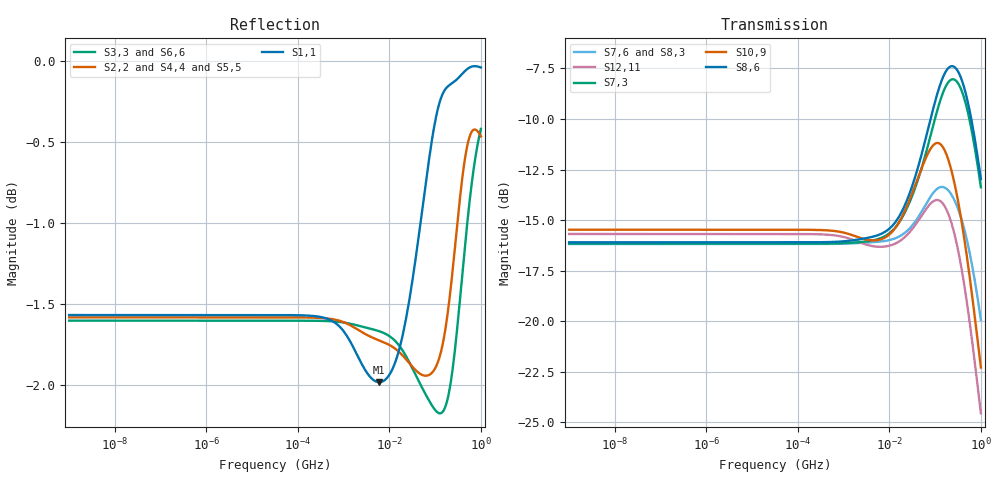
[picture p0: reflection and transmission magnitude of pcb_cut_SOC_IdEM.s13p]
! Touchstone data
! Created: 22-Apr-2025 by IdEM 2023 (2023.0.0)
! COMMENTS
!  Touchstone file exported from Ansys Full-Wave Spice
!  Project: 0000_PSI_S-parameter_Sweep
!  Design: unknown
!  Creation time: Tue Apr 22 10:16:35 2025
!  Notes: ! Touchstone(R) file created by SIwave 2025 R1
!  : ! Touchstone(R) file created on Tue Apr 22 10:16:35 2025
!  Modal data exported
!  Port[1] = PORT_1_L34_SOC_VSOC_Group_U40_GND_Group
!  Port[2] = PORT_2_U1_SOC_VSOC_Group_U1_GRP_1_1_GND
!  Port[3] = SOC_VSOC_C467_1
!  Port[4] = SOC_VSOC_C468_1
!  Port[5] = SOC_VSOC_C469_1
!  Port[6] = SOC_VSOC_C470_1
!  Port[7] = SOC_VSOC_C471_1
!  Port[8] = SOC_VSOC_C473_1
!  Port[9] = SOC_VSOC_C560_1
!  Port[10] = SOC_VSOC_C560_3
!  Port[11] = SOC_VSOC_C561_1
!  Port[12] = SOC_VSOC_C561_3
!  Port[13] = SOC_VSOC_C648_1
! Options Used in IdEM Flow
! Fitting Options !
! Bandwidth: 1.0000e+09 Hz
! Order: [2 2 6]
! SplitType: none
! tol: 1.0000e-03
! DC Point: enforced
! Passivity Options !
! Alg: SOC+HAM
!  Max SOC it: 200
!  Max HAM it: 50
! Freq sampling: adaptive
! DC Point: enforced
! Optimization method: Model based
# Hz S MA R 0.1
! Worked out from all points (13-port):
!   420 points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, 1 Hz to 1 GHz, reference 0.1 ohm
!   strongest paths, dB at 1 Hz, 3.687 kHz, 11.66 MHz, 482.9 MHz, 1 GHz:
!     S8,6: -16.1, -16.1, -15.3, -8.9, -13.0
!     S10,9: -15.5, -15.5, -15.6, -16.6, -22.3
!     S7,3: -16.2, -16.2, -15.5, -9.4, -13.4
!     S12,11: -15.7, -15.7, -16.2, -18.9, -24.6
!     S7,6: -16.2, -16.2, -15.9, -15.9, -19.9
!     S8,3: -16.2, -16.2, -16.0, -15.8, -19.9
!   lowest |S11| = -2.0 dB at 5.843 MHz (marker M1), VSWR 8.80, Z = 0.0119 + j0.0208 ohm
!   |S11| at or under -10 dB: nowhere
